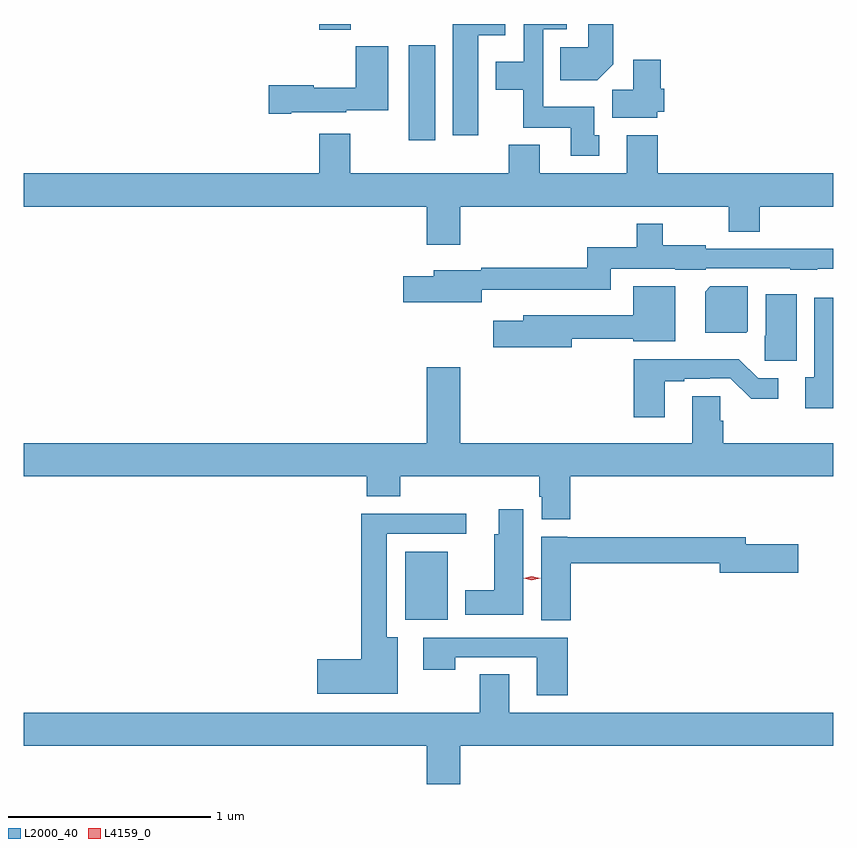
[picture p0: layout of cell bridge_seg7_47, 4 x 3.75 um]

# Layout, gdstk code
import gdstk
lib = gdstk.Library(unit=1e-6, precision=1e-09)
def R(c, l, rs):  # rectangles x0, y0, x1, y1
    for r in rs: c.add(gdstk.rectangle(r[:2], r[2:], *l))
def P(c, l, *ps):  # polygons
    for p in ps: c.add(gdstk.Polygon(p, *l))
L2000_40 = (2000, 40)
L4159_0 = (4159, 0)

bridge_seg7_47 = lib.new_cell('bridge_seg7_47')
R(bridge_seg7_47, L2000_40, [(956.108,1035.872,956.32,1036.207), (956.126,1038.24,956.257,1038.709), (955.685,1038.785,955.84,1038.814)])
P(bridge_seg7_47, L2000_40, [(957.136,1038.614),(957.136,1038.814),(957.014,1038.814),(957.014,1038.7),(956.875,1038.7),(956.875,1038.536),(957.058,1038.536)],
  [(956.47,1038.758),(956.604,1038.758),(956.604,1038.814),(956.345,1038.814),(956.345,1038.264),(956.47,1038.264)],
  [(957.067,1038.264),(957.043,1038.264),(957.043,1038.406),(956.79,1038.406),(956.79,1038.789),(956.908,1038.789),(956.908,1038.814),(956.694,1038.814),(956.694,1038.628),(956.555,1038.628),(956.555,1038.488),(956.692,1038.488),(956.692,1038.302),(956.927,1038.302),(956.927,1038.162),(957.067,1038.162)],
  [(955.546,1038.377),(955.818,1038.377),(955.818,1038.389),(956.026,1038.389),(956.026,1038.703),(955.864,1038.703),(955.864,1038.499),(955.656,1038.499),(955.656,1038.512),(955.434,1038.512),(955.434,1038.37),(955.546,1038.37)],
  [(957.354,1038.381),(957.389,1038.381),(957.389,1038.495),(957.371,1038.495),(957.371,1038.637),(957.236,1038.637),(957.236,1038.488),(957.131,1038.488),(957.131,1038.35),(957.354,1038.35)],
  [(956.38,1037.912),(957.706,1037.912),(957.706,1037.788),(957.861,1037.788),(957.861,1037.912),(958.224,1037.912),(958.224,1038.076),(957.356,1038.076),(957.356,1038.265),(957.203,1038.265),(957.203,1038.076),(956.773,1038.076),(956.773,1038.217),(956.621,1038.217),(956.621,1038.076),(955.837,1038.076),(955.837,1038.271),(955.685,1038.271),(955.685,1038.076),(954.224,1038.076),(954.224,1037.912),(956.216,1037.912),(956.216,1037.724),(956.38,1037.724)],
  [(956.488,1037.502),(957.123,1037.502),(957.123,1037.606),(957.444,1037.606),(957.444,1037.6),(957.594,1037.6),(957.594,1037.607),(958.011,1037.607),(958.011,1037.6),(958.143,1037.6),(958.143,1037.606),(958.224,1037.606),(958.224,1037.705),(958.011,1037.705),(958.011,1037.703),(957.594,1037.703),(957.594,1037.722),(957.382,1037.722),(957.382,1037.827),(957.253,1037.827),(957.253,1037.711),(957.007,1037.711),(957.007,1037.611),(956.484,1037.611),(956.484,1037.598),(956.249,1037.598),(956.249,1037.569),(956.1,1037.569),(956.1,1037.44),(956.488,1037.44)],
  [(957.802,1037.296),(957.802,1037.518),(957.616,1037.518),(957.59,1037.492),(957.59,1037.288),(957.794,1037.288)],
  [(956.932,1037.26),(957.236,1037.26),(957.236,1037.246),(957.442,1037.246),(957.442,1037.518),(957.236,1037.518),(957.236,1037.376),(956.693,1037.376),(956.693,1037.347),(956.544,1037.347),(956.544,1037.218),(956.932,1037.218)],
  [(958.042,1037.478),(957.89,1037.478),(957.89,1037.274),(957.886,1037.274),(957.886,1037.151),(958.042,1037.151)],
  [(958.224,1037.461),(958.13,1037.461),(958.13,1037.07),(958.085,1037.07),(958.085,1036.916),(958.224,1036.916)],
  [(957.391,1037.049),(957.487,1037.049),(957.487,1037.061),(957.614,1037.061),(957.614,1037.064),(957.714,1037.064),(957.817,1036.962),(957.952,1036.962),(957.952,1037.064),(957.852,1037.064),(957.757,1037.159),(957.239,1037.159),(957.239,1036.872),(957.391,1036.872)],
  [(956.924,1036.58),(958.224,1036.58),(958.224,1036.744),(957.68,1036.744),(957.68,1036.854),(957.666,1036.854),(957.666,1036.976),(957.527,1036.976),(957.527,1036.744),(956.38,1036.744),(956.38,1037.119),(956.216,1037.119),(956.216,1036.744),(954.224,1036.744),(954.224,1036.58),(955.919,1036.58),(955.919,1036.481),(956.084,1036.481),(956.084,1036.58),(956.771,1036.58),(956.771,1036.479),(956.783,1036.479),(956.783,1036.367),(956.924,1036.367)],
  [(956.692,1036.417),(956.57,1036.417),(956.57,1036.293),(956.549,1036.293),(956.549,1036.018),(956.405,1036.018),(956.405,1035.896),(956.692,1035.896)],
  [(956.071,1035.784),(956.017,1035.784),(956.017,1036.296),(956.41,1036.296),(956.41,1036.394),(955.892,1036.394),(955.892,1035.677),(955.674,1035.677),(955.674,1035.506),(956.071,1035.506)],
  [(956.927,1036.15),(957.662,1036.15),(957.662,1036.103),(958.051,1036.103),(958.051,1036.245),(957.79,1036.245),(957.79,1036.279),(956.91,1036.279),(956.91,1036.282),(956.78,1036.282),(956.78,1035.868),(956.927,1035.868)],
  [(956.912,1035.783),(956.199,1035.783),(956.199,1035.624),(956.355,1035.624),(956.355,1035.687),(956.759,1035.687),(956.759,1035.498),(956.912,1035.498)],
  [(956.38,1035.248),(958.224,1035.248),(958.224,1035.412),(956.623,1035.412),(956.623,1035.602),(956.476,1035.602),(956.476,1035.412),(954.224,1035.412),(954.224,1035.248),(956.216,1035.248),(956.216,1035.06),(956.38,1035.06)])
P(bridge_seg7_47, L4159_0, [(956.735,1036.066),(956.695,1036.076),(956.695,1036.076),(956.695,1036.077),(956.735,1036.086),(956.775,1036.076),(956.775,1036.076),(956.775,1036.076)])

lib.write_gds('bridge_seg7_47.gds')
